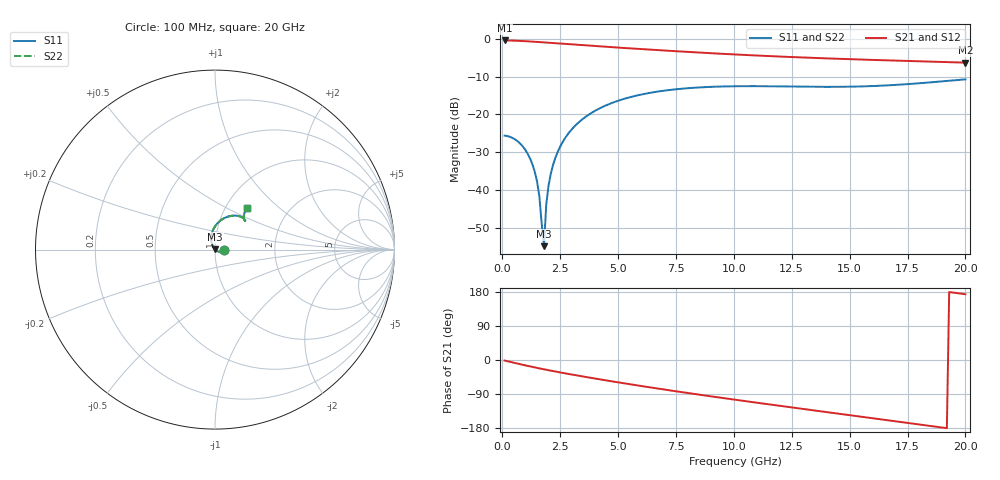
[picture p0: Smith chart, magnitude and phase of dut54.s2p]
! Created with skrf 1.9.0 (http://scikit-rf.org).
# GHz S RI R 50.0
!freq ReS11 ImS11 ReS21 ImS21 ReS12 ImS12 ReS22 ImS22
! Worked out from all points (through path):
!   200 points, 100 MHz to 20 GHz, reference 50 ohm
!   highest |S21| = -0.47 dB at 100 MHz (marker M1); lowest = -6.3 dB at 20 GHz (marker M2)
!   group delay of S21, straight-line fit = 24.8 ps
!   lowest |S11| = -54.7 dB at 1.8 GHz (marker M3), VSWR 1.00, Z = 50 + j0.182 ohm
!   |S11| at or under -10 dB: start of sweep to end of sweep
!   |S22| runs from -54.7 to -10.7 dB; largest |S21 - S12| = 1.8e-15
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0.1  0.0525 -0.00213  0.9467 -0.0245  0.9467 -0.0245  0.0525 -0.00213
0.5  0.0467 -0.0108  0.9339 -0.1191  0.9339 -0.1191  0.0467 -0.0108
0.8  0.0379 -0.0144  0.9147 -0.1861  0.9147 -0.1861  0.0379 -0.0144
1.1  0.0267 -0.0142  0.8889 -0.2481  0.8889 -0.2481  0.0267 -0.0142
1.3  0.0187 -0.0117  0.8688 -0.2863  0.8688 -0.2863  0.0187 -0.0117
1.5  0.0107 -0.00751  0.847 -0.3221  0.847 -0.3221  0.0107 -0.00751
1.6  0.00693 -0.00477  0.8356 -0.339  0.8356 -0.339  0.00693 -0.00477
1.7  0.00328 -0.00165  0.8239 -0.3554  0.8239 -0.3554  0.00328 -0.00165
1.8  -0.000193 0.00182  0.8119 -0.3711  0.8119 -0.3711  -0.000193 0.00182
1.9  -0.00345 0.00562  0.7997 -0.3863  0.7997 -0.3863  -0.00345 0.00562
2  -0.00647 0.0097  0.7873 -0.4009  0.7873 -0.4009  -0.00647 0.0097
2.2  -0.0117 0.0186  0.7621 -0.4286  0.7621 -0.4286  -0.0117 0.0186
2.4  -0.0159 0.0283  0.7365 -0.4542  0.7365 -0.4542  -0.0159 0.0283
2.7  -0.0199 0.0439  0.6974 -0.4892  0.6974 -0.4892  -0.0199 0.0439
3.1  -0.0213 0.0653  0.6447 -0.5302  0.6447 -0.5302  -0.0213 0.0653
3.5  -0.0185 0.0865  0.5915 -0.5653  0.5915 -0.5653  -0.0185 0.0865
4.9  0.0143 0.1473  0.4062 -0.6492  0.4062 -0.6492  0.0143 0.1473
6.8  0.0799 0.1859  0.1686 -0.6833  0.1686 -0.6833  0.0799 0.1859
10.1  0.1569 0.1761  -0.1622 -0.5959  -0.1622 -0.5959  0.1569 0.1761
13.4  0.1683 0.1596  -0.3771 -0.4114  -0.3771 -0.4114  0.1683 0.1596
16.7  0.1604 0.1821  -0.4836 -0.1817  -0.4836 -0.1817  0.1604 0.1821
20  0.1781 0.2299  -0.48 0.0543  -0.48 0.0543  0.1781 0.2299
